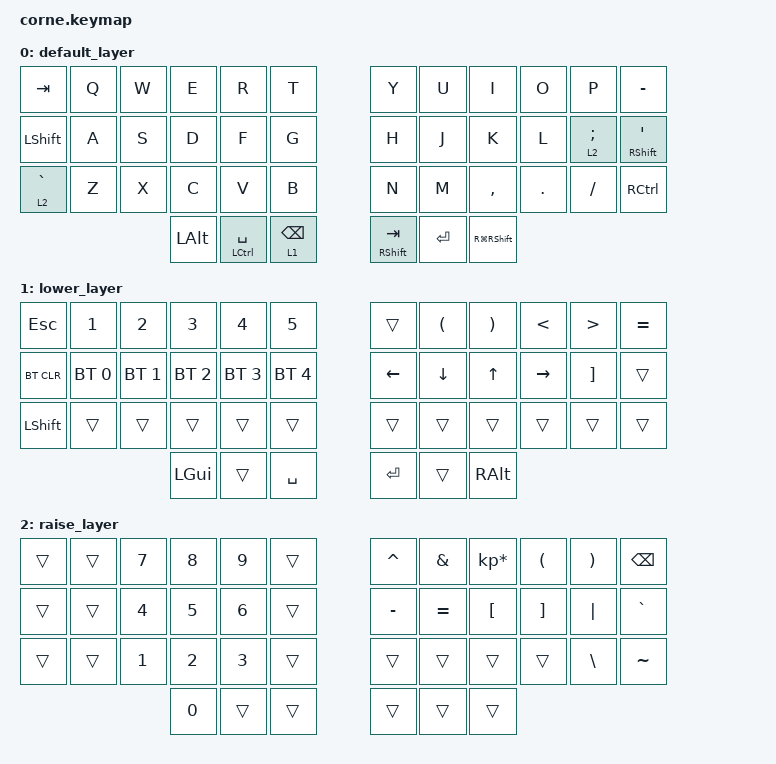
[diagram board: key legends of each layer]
/*
 * Copyright (c) 2020 The ZMK Contributors
 *
 * SPDX-License-Identifier: MIT
 */

#include <behaviors.dtsi>
#include <dt-bindings/zmk/keys.h>
#include <dt-bindings/zmk/bt.h>

/ {

	behaviors {
		sp: space_modtap {
			compatible = "zmk,behavior-hold-tap";
			label = "SPACE_MODTAP";
			#binding-cells = <2>;
			tapping-term-ms = <400>;
			quick_tap_ms = <0>;
			flavor = "tap-preferred";
			bindings = <&kp>, <&kp>;
        	};
    	};

	combos {
		compatible = "zmk,combos";
		combo_esc {
			timeout-ms = <50>;
			key-positions = <0 1>;
			bindings = <&kp ESC>;
		};
		combo_thumbs {
			timeout-ms = <50>;
			key-positions = <54 55>;
			bindings = <&kp LG(D)>;
		};
	};

        keymap {
                compatible = "zmk,keymap";

                default_layer {
                        bindings = <
&kp TAB       &kp Q        &kp W       &kp E   &kp R   &kp T            &kp Y   &kp U  &kp I       &kp O   &kp P      &kp MINUS
&kp LSHFT     &kp A        &kp S       &kp D   &kp F   &kp G            &kp H   &kp J  &kp K       &kp L   &lt 2 SEMI &mt RSHFT SQT
&lt 2 GRAVE   &kp Z        &kp X       &kp C   &kp V   &kp B            &kp N   &kp M  &kp COMMA   &kp DOT &kp FSLH   &kp RCTRL
                    &kp LALT &sp LCTRL SPACE &lt 1 BSPC   &mt RSHFT TAB  &kp RET &kp RG(RSHFT)
                        >;
                };
                lower_layer {
                        bindings = <
   &kp ESC    &kp N1       &kp N2       &kp N3       &kp N4       &kp N5            &trans     &kp LPAR   &kp RPAR    &kp LT    &kp GT    &kp EQUAL
   &bt BT_CLR &bt BT_SEL 0 &bt BT_SEL 1 &bt BT_SEL 2 &bt BT_SEL 3 &bt BT_SEL 4      &kp LEFT  &kp DOWN    &kp UP    &kp RIGHT   &kp RBKT  &trans
   &kp LSHFT  &trans       &trans       &trans       &trans       &trans            &trans     &trans     &trans      &trans    &trans    &trans
                                        &kp LGUI     &trans       &kp SPACE         &kp RET    &trans     &kp RALT
                        >;
                };

                raise_layer {
                        bindings = <
   &trans      &trans      &kp N7       &kp N8    &kp N9    &trans    &kp CARET &kp AMPS  &kp KP_MULTIPLY &kp LPAR &kp RPAR &kp BSPC
   &trans      &trans      &kp N4       &kp N5    &kp N6    &trans    &kp MINUS &kp EQUAL &kp LBKT        &kp RBKT &kp PIPE &kp GRAVE
   &trans      &trans      &kp N1       &kp N2    &kp N3    &trans    &trans    &trans    &trans          &trans   &kp BSLH &kp TILDE
                                         &kp N0   &trans &trans     &trans  &trans  &trans
                        >;
                };
        };
};
